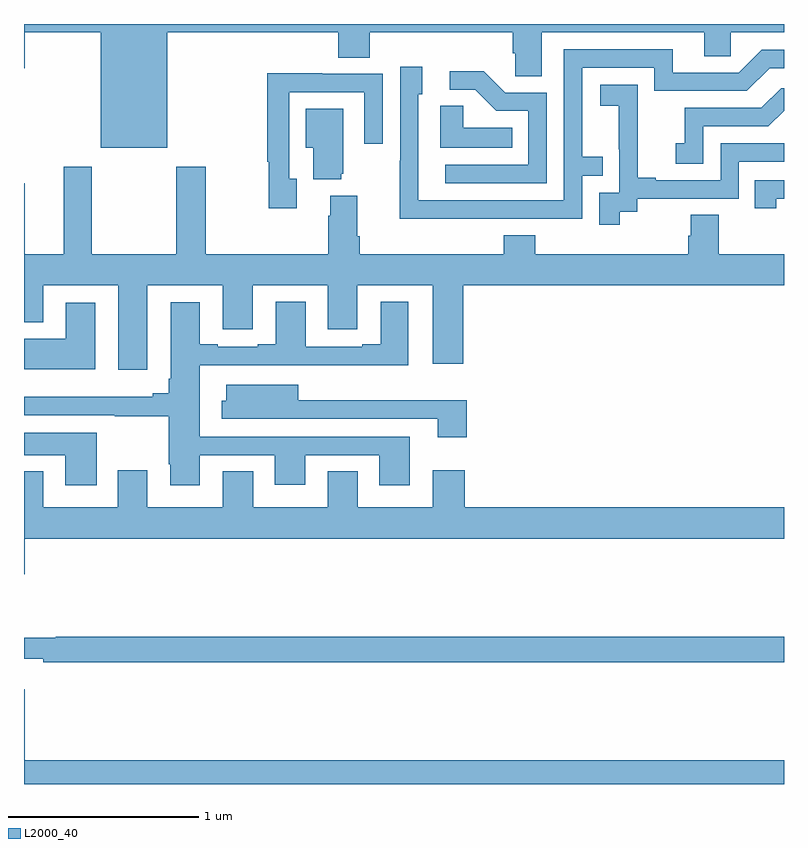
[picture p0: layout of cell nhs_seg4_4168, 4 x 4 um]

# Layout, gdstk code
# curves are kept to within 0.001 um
import gdstk
lib = gdstk.Library(unit=1e-6, precision=1e-09)
def P(c, l, *ps):  # polygons
    for p in ps: c.add(gdstk.Polygon(p, *l))
L2000_40 = (2000, 40)

nhs_seg4_4168 = lib.new_cell('nhs_seg4_4168')
P(nhs_seg4_4168, L2000_40, [(333.754,760.856),(334.655,760.856),(334.655,760.723),(334.82,760.723),(334.82,760.856),(335.573,760.856),(335.573,760.747),(335.586,760.747),(335.586,760.624),(335.725,760.624),(335.725,760.856),(336.581,760.856),(336.581,760.729),(336.72,760.729),(336.72,760.856),(337,760.856),(337,760.9),(333,760.9),(333,760.668),(333.004,760.668),(333.004,760.856),(333.404,760.856),(333.404,760.25),(333.754,760.25)],
  [(335.441,759.876),(335.937,759.876),(335.937,760.101),(336.047,760.101),(336.047,760.202),(335.937,760.202),(335.937,760.671),(336.318,760.671),(336.318,760.548),(336.804,760.548),(336.924,760.668),(337,760.668),(337,760.764),(336.882,760.764),(336.762,760.644),(336.415,760.644),(336.415,760.767),(335.841,760.767),(335.841,759.972),(335.076,759.972),(335.076,760.53),(335.095,760.53),(335.095,760.675),(334.98,760.675),(334.98,760.181),(334.978,760.181),(334.978,759.875)],
  [(335.751,760.539),(335.532,760.539),(335.419,760.652),(335.241,760.652),(335.241,760.554),(335.375,760.554),(335.486,760.443),(335.655,760.443),(335.655,760.158),(335.217,760.158),(335.217,760.062),(335.751,760.062)],
  [(334.435,760.086),(334.395,760.086),(334.395,760.542),(334.791,760.542),(334.791,760.269),(334.887,760.269),(334.887,760.638),(334.571,760.638),(334.571,760.64),(334.279,760.64),(334.279,760.174),(334.287,760.174),(334.287,759.93),(334.435,759.93)],
  [(336.136,759.913),(336.228,759.913),(336.228,759.981),(336.762,759.981),(336.762,760.176),(337,760.176),(337,760.272),(336.666,760.272),(336.666,760.077),(336.325,760.077),(336.325,760.09),(336.23,760.09),(336.23,760.373),(336.231,760.373),(336.231,760.579),(336.033,760.579),(336.033,760.469),(336.131,760.469),(336.131,760.241),(336.132,760.241),(336.132,760.011),(336.027,760.011),(336.027,759.843),(336.136,759.843)],
  [(336.576,760.362),(336.918,760.362),(337,760.444),(337,760.563),(336.986,760.563),(336.881,760.458),(336.478,760.458),(336.478,760.273),(336.429,760.273),(336.429,760.164),(336.576,760.164)],
  [(335.57,760.354),(335.313,760.354),(335.313,760.469),(335.192,760.469),(335.192,760.25),(335.57,760.25)],
  [(334.67,760.113),(334.681,760.113),(334.681,760.453),(334.484,760.453),(334.484,760.25),(334.523,760.25),(334.523,760.082),(334.67,760.082)],
  [(336.958,759.981),(337,759.981),(337,760.077),(336.847,760.077),(336.847,759.93),(336.958,759.93)],
  [(334.613,759.997),(334.613,759.89),(334.601,759.89),(334.601,759.688),(333.957,759.688),(333.957,760.15),(333.802,760.15),(333.802,759.688),(333.357,759.688),(333.357,760.15),(333.209,760.15),(333.209,759.688),(333.004,759.688),(333.004,760.063),(333,760.063),(333,759.33),(333.1,759.33),(333.1,759.524),(333.497,759.524),(333.497,759.081),(333.649,759.081),(333.649,759.524),(334.046,759.524),(334.046,759.294),(334.204,759.294),(334.204,759.524),(334.598,759.524),(334.598,759.294),(334.753,759.294),(334.753,759.524),(335.15,759.524),(335.15,759.111),(335.311,759.111),(335.311,759.524),(337,759.524),(337,759.688),(336.657,759.688),(336.657,759.896),(336.509,759.896),(336.509,759.786),(336.497,759.786),(336.497,759.688),(335.69,759.688),(335.69,759.787),(335.525,759.787),(335.525,759.688),(334.766,759.688),(334.766,759.784),(334.753,759.784),(334.753,759.997)],
  [(333.925,758.631),(334.319,758.631),(334.319,758.475),(334.48,758.475),(334.48,758.631),(334.871,758.631),(334.871,758.472),(335.029,758.472),(335.029,758.727),(333.925,758.727),(333.925,759.105),(334.479,759.105),(334.479,759.104),(335.023,759.104),(335.023,759.439),(334.877,759.439),(334.877,759.214),(334.781,759.214),(334.781,759.201),(334.483,759.201),(334.483,759.439),(334.325,759.439),(334.325,759.214),(334.229,759.214),(334.229,759.201),(334.021,759.201),(334.021,759.214),(333.925,759.214),(333.925,759.436),(333.773,759.436),(333.773,759.034),(333.761,759.034),(333.761,758.957),(333.677,758.957),(333.677,758.938),(333,758.938),(333,758.841),(333.478,758.841),(333.478,758.836),(333.763,758.836),(333.763,758.584),(333.77,758.584),(333.77,758.472),(333.925,758.472)],
  [(333.376,759.433),(333.221,759.433),(333.221,759.244),(333,759.244),(333,759.083),(333.376,759.083)],
  [(335.33,758.921),(334.444,758.921),(334.444,759.001),(334.064,759.001),(334.064,758.916),(334.04,758.916),(334.04,758.822),(334.34,758.822),(334.34,758.823),(335.177,758.823),(335.177,758.724),(335.33,758.724)],
  [(333.382,758.749),(333,758.749),(333,758.63),(333.218,758.63),(333.218,758.472),(333.382,758.472)],
  [(333.004,758.192),(337,758.192),(337,758.356),(335.321,758.356),(335.321,758.551),(335.15,758.551),(335.15,758.356),(334.756,758.356),(334.756,758.546),(334.598,758.546),(334.598,758.356),(334.207,758.356),(334.207,758.546),(334.046,758.546),(334.046,758.356),(333.649,758.356),(333.649,758.551),(333.494,758.551),(333.494,758.356),(333.1,758.356),(333.1,758.545),(333,758.545),(333,758.004),(333.004,758.004)],
  [(337,757.676),(333.167,757.676),(333.167,757.669),(333,757.669),(333,757.559),(333.1,757.559),(333.1,757.54),(337,757.54)],
  [(337,757.024),(333.004,757.024),(333.004,757.399),(333,757.399),(333,756.9),(337,756.9)])

lib.write_gds('nhs_seg4_4168.gds')
